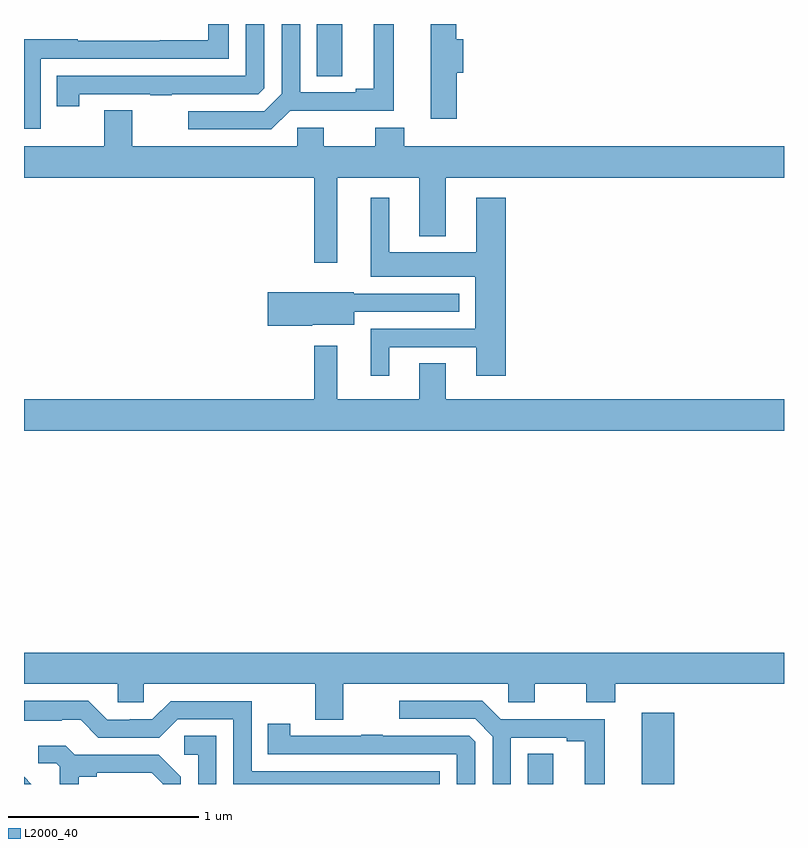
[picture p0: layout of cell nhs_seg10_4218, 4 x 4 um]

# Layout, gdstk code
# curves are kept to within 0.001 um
import gdstk
lib = gdstk.Library(unit=1e-6, precision=1e-09)
def R(c, l, rs):  # rectangles x0, y0, x1, y1
    for r in rs: c.add(gdstk.rectangle(r[:2], r[2:], *l))
def P(c, l, *ps):  # polygons
    for p in ps: c.add(gdstk.Polygon(p, *l))
L2000_40 = (2000, 40)

nhs_seg10_4218 = lib.new_cell('nhs_seg10_4218')
R(nhs_seg10_4218, L2000_40, [(349.652,1254.5,349.786,1254.659), (350.252,1254.5,350.423,1254.874), (348.542,1258.225,348.676,1258.5)])
P(nhs_seg10_4218, L2000_40, [(347.088,1258.317),(348.078,1258.317),(348.078,1258.5),(347.97,1258.5),(347.97,1258.414),(347.715,1258.414),(347.715,1258.413),(347.283,1258.413),(347.283,1258.42),(347,1258.42),(347,1257.948),(347.088,1257.948)],
  [(348.4,1258.044),(348.946,1258.044),(348.946,1258.5),(348.842,1258.5),(348.842,1258.16),(348.746,1258.16),(348.746,1258.14),(348.453,1258.14),(348.453,1258.5),(348.357,1258.5),(348.357,1258.134),(348.264,1258.041),(347.865,1258.041),(347.865,1257.945),(348.301,1257.945)],
  [(347.292,1258.131),(347.665,1258.131),(347.665,1258.126),(347.777,1258.126),(347.777,1258.131),(348.234,1258.131),(348.264,1258.161),(348.264,1258.5),(348.168,1258.5),(348.168,1258.227),(347.173,1258.227),(347.173,1258.068),(347.292,1258.068)],
  [(349.277,1258.243),(349.313,1258.243),(349.313,1258.421),(349.274,1258.421),(349.274,1258.5),(349.142,1258.5),(349.142,1258.002),(349.277,1258.002)],
  [(348.649,1257.692),(349.079,1257.692),(349.079,1257.383),(349.219,1257.383),(349.219,1257.692),(351,1257.692),(351,1257.856),(349.001,1257.856),(349.001,1257.955),(348.848,1257.955),(348.848,1257.856),(348.577,1257.856),(348.577,1257.954),(348.438,1257.954),(348.438,1257.856),(347.569,1257.856),(347.569,1258.046),(347.422,1258.046),(347.422,1257.856),(347,1257.856),(347,1257.692),(348.528,1257.692),(348.528,1257.243),(348.649,1257.243)],
  [(348.922,1256.799),(349.379,1256.799),(349.379,1256.649),(349.535,1256.649),(349.535,1257.586),(349.379,1257.586),(349.379,1257.298),(348.922,1257.298),(348.922,1257.586),(348.824,1257.586),(348.824,1257.17),(349.376,1257.17),(349.376,1256.895),(348.824,1256.895),(348.824,1256.649),(348.922,1256.649)],
  [(348.516,1256.918),(348.739,1256.918),(348.739,1256.985),(349.291,1256.985),(349.291,1257.081),(348.735,1257.081),(348.735,1257.089),(348.282,1257.089),(348.282,1256.911),(348.516,1256.911)],
  [(351,1256.524),(349.219,1256.524),(349.219,1256.714),(349.079,1256.714),(349.079,1256.524),(348.649,1256.524),(348.649,1256.806),(348.528,1256.806),(348.528,1256.524),(347,1256.524),(347,1256.36),(351,1256.36)],
  [(348.679,1255.028),(349.548,1255.028),(349.548,1254.93),(349.687,1254.93),(349.687,1255.028),(349.958,1255.028),(349.958,1254.929),(350.111,1254.929),(350.111,1255.028),(351,1255.028),(351,1255.192),(347,1255.192),(347,1255.028),(347.493,1255.028),(347.493,1254.93),(347.631,1254.93),(347.631,1255.028),(348.532,1255.028),(348.532,1254.838),(348.679,1254.838)],
  [(349.563,1254.744),(349.856,1254.744),(349.856,1254.724),(349.952,1254.724),(349.952,1254.5),(350.056,1254.5),(350.056,1254.84),(349.51,1254.84),(349.411,1254.939),(348.975,1254.939),(348.975,1254.843),(349.374,1254.843),(349.467,1254.75),(349.467,1254.5),(349.563,1254.5)],
  [(349.188,1254.567),(348.198,1254.567),(348.198,1254.936),(347.772,1254.936),(347.676,1254.84),(347.556,1254.84),(347.556,1254.837),(347.439,1254.837),(347.339,1254.937),(347,1254.937),(347,1254.833),(347.198,1254.833),(347.198,1254.837),(347.298,1254.837),(347.391,1254.744),(347.712,1254.744),(347.808,1254.84),(348.102,1254.84),(348.102,1254.5),(349.188,1254.5)],
  [(349.374,1254.723),(349.344,1254.753),(348.887,1254.753),(348.887,1254.758),(348.775,1254.758),(348.775,1254.753),(348.402,1254.753),(348.402,1254.817),(348.283,1254.817),(348.283,1254.657),(349.278,1254.657),(349.278,1254.5),(349.374,1254.5)],
  [(348.012,1254.755),(347.844,1254.755),(347.844,1254.654),(347.916,1254.654),(347.916,1254.5),(348.012,1254.5)],
  [(347.287,1254.538),(347.383,1254.538),(347.383,1254.558),(347.672,1254.558),(347.729,1254.5),(347.826,1254.5),(347.826,1254.538),(347.71,1254.654),(347.268,1254.654),(347.22,1254.701),(347.074,1254.701),(347.074,1254.609),(347.169,1254.609),(347.187,1254.591),(347.187,1254.5),(347.287,1254.5)],
  [(347,1254.538),(347,1254.5),(347.038,1254.5)])

lib.write_gds('nhs_seg10_4218.gds')
